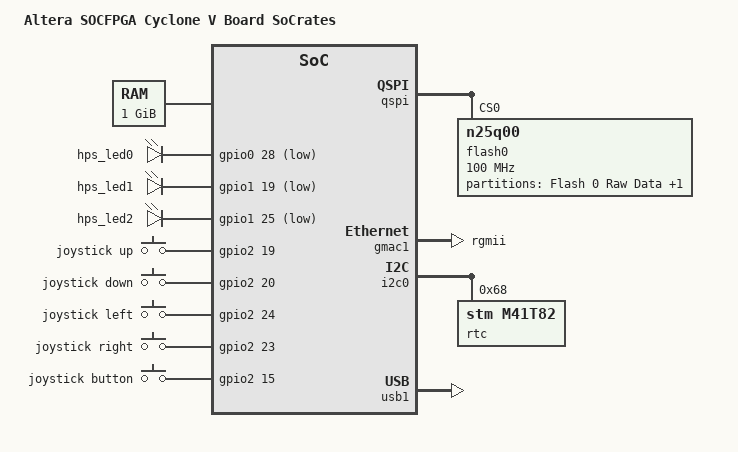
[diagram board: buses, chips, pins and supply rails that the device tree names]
/*
 *  Copyright (C) 2012 Altera Corporation <www.altera.com>
 *
 * This program is free software; you can redistribute it and/or modify
 * it under the terms of the GNU General Public License as published by
 * the Free Software Foundation; either version 2 of the License, or
 * (at your option) any later version.
 *
 * This program is distributed in the hope that it will be useful,
 * but WITHOUT ANY WARRANTY; without even the implied warranty of
 * MERCHANTABILITY or FITNESS FOR A PARTICULAR PURPOSE.  See the
 * GNU General Public License for more details.
 *
 * You should have received a copy of the GNU General Public License
 * along with this program.  If not, see <http://www.gnu.org/licenses/>.
 */

/dts-v1/;
/include/ "socfpga.dtsi"

/ {
	model = "Altera SOCFPGA Cyclone V Board SoCrates";
	compatible = "ebv,socrates", "altr,socfpga-cyclone5", "altr,socfpga";

	chosen {
		bootargs = "console=ttyS0,115200";
	};

	memory {
		name = "memory";
		device_type = "memory";
		reg = <0x0 0x40000000>; /* 1 GB */
	};

	aliases {
		/* this allow the ethaddr uboot environmnet variable contents
		 * to be added to the gmac1 device tree blob.
		 */
		ethernet0 = &gmac1;
	};

	soc {
		clkmgr@ffd04000 {
			clocks {
				osc1 {
					clock-frequency = <25000000>;
				};
			};
		};

		dwmmc0@ff704000 {
			num-slots = <1>;
			supports-highspeed;
			broken-cd;
			altr,dw-mshc-ciu-div = <3>;
			altr,dw-mshc-sdr-timing = <0 3>;

			slot@0 {
				reg = <0>;
				bus-width = <4>;
			};
		};

		qspi: spi@ff705000 {
			compatible = "cadence,qspi";
			#address-cells = <1>;
			#size-cells = <0>;
			reg = <0xff705000 0x1000>,
				<0xffa00000 0x1000>;
			interrupts = <0 151 4>;
			master-ref-clk = <400000000>;
			ext-decoder = <0>;		/* external decoder */
			num-chipselect = <4>;
			fifo-depth = <128>;
			bus-num = <2>;

			flash0: n25q00@0 {
				#address-cells = <1>;
				#size-cells = <1>;
				compatible = "n25q00";
				reg = <0>;	/* chip select */
				spi-max-frequency = <100000000>;
				page-size = <256>;
				block-size = <16>;	/* 2^16, 64KB */
				quad = <1>;		/* 1-support quad */
				tshsl-ns = <200>;
				tsd2d-ns = <255>;
				tchsh-ns = <20>;
				tslch-ns = <20>;

				partition@0 {
					/* 8MB for raw data. */
					label = "Flash 0 Raw Data";
					reg = <0x0 0x800000>;
				};

				partition@800000 {
					/* 8MB for jffs2 data. */
					label = "Flash 0 jffs2 Filesystem";
					reg = <0x800000 0x800000>;
				};
			};
		};

		sysmgr@ffd08000 {
			cpu1-start-addr = <0xffd080c4>;
		};

		timer0@ffc08000 {
			clock-frequency = <100000000>;
		};

		timer1@ffc09000 {
			clock-frequency = <100000000>;
		};

		timer2@ffd00000 {
			clock-frequency = <25000000>;
		};

		timer3@ffd01000 {
			clock-frequency = <25000000>;
		};

		serial0@ffc02000 {
			clock-frequency = <100000000>;
		};

		serial1@ffc03000 {
			clock-frequency = <100000000>;
		};

		uio-gpio@ff2000000 {
			compatible = "generic-uio";
			reg = <0xff200000 0x1000>;
		};

		framebuffer {
			compatible = "simple-framebuffer";
			reg = <0x3f000000 (800 * 480 * 4)>;
			width = <800>;
			height = <480>;
			stride = <(800 * 4)>;
			format = "a8r8g8b8";
			status = "disabled";
		};

		leds {
			compatible = "gpio-leds";

			hps0 {
				label = "hps_led0";
				gpios = <&gpio0 28 1>;
			};

			hps1 {
				label = "hps_led1";
				gpios = <&gpio1 19 1>;
			};

			hps2 {
				label = "hps_led2";
				gpios = <&gpio1 25 1>;
			};
		};

		keys {
			compatible = "gpio-keys-polled";
			#address-cells = <1>;
			#size-cells = <0>;
			poll-interval = <100>;

			up {
				label = "joystick up";
				linux,code = <0x67>;
				gpios = <&gpio2 19 0>;
			};

			down {
				label = "joystick down";
				linux,code = <0x6a>;
				gpios = <&gpio2 20 0>;
			};

			left {
				label = "joystick left";
				linux,code = <0x69>;
				gpios = <&gpio2 24 0>;
			};

			right {
				label = "joystick right";
				linux,code = <0x6c>;
				gpios = <&gpio2 23 0>;
			};

			button {
				label = "joystick button";
				linux,code = <0x1c>;
				gpios = <&gpio2 15 0>;
			};
		};
	};
};

&gmac1 {
	phy-mode = "rgmii";
	snps,phy-addr = <0xffffffff>; /* probe for phy addr */
	rxd0-skew-ps = <0>;
	rxd1-skew-ps = <0>;
	rxd2-skew-ps = <0>;
	rxd3-skew-ps = <0>;
	txen-skew-ps = <0>;
	txc-skew-ps = <2600>;
	rxdv-skew-ps = <0>;
	rxc-skew-ps = <2000>;
	snps,max-mtu = <4062>;
	status = "okay";
};

&i2c0 {
	speed-mode = <0>;
	status = "okay";

	rtc@68 {
		compatible = "stm,m41t82";
		reg = <0x68>;
	};
};

&usb1 {
      status = "okay";
};
